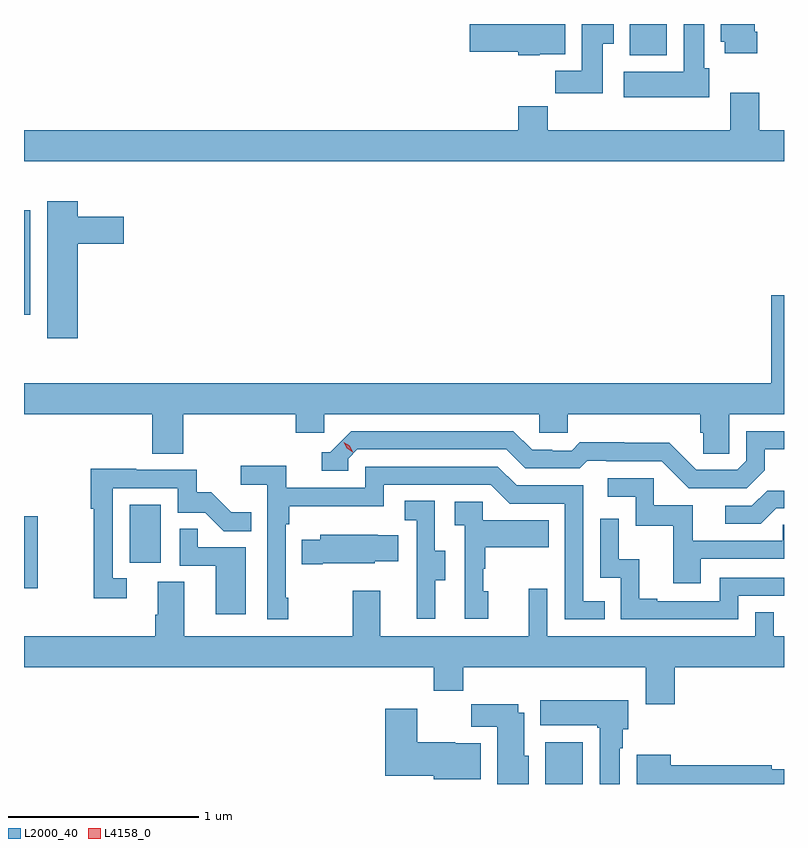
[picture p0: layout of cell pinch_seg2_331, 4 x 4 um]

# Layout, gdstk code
import gdstk
lib = gdstk.Library(unit=1e-6, precision=1e-09)
def R(c, l, rs):  # rectangles x0, y0, x1, y1
    for r in rs: c.add(gdstk.rectangle(r[:2], r[2:], *l))
def P(c, l, *ps):  # polygons
    for p in ps: c.add(gdstk.Polygon(p, *l))
L2000_40 = (2000, 40)
L4158_0 = (4158, 0)

pinch_seg2_331 = lib.new_cell('pinch_seg2_331')
R(pinch_seg2_331, L2000_40, [(1002.227,640.362,1002.424,640.582), (999.483,641.391,999.556,641.772), (1000.04,641.526,1000.204,641.833), (999.483,642.831,999.516,643.382), (1002.671,644.198,1002.867,644.362)])
P(pinch_seg2_331, L2000_40, [(1003.09,644.13),(1003.063,644.13),(1003.063,644.362),(1002.956,644.362),(1002.956,644.11),(1002.639,644.11),(1002.639,643.976),(1003.09,643.976)],
  [(1002.529,644.257),(1002.586,644.257),(1002.586,644.362),(1002.419,644.362),(1002.419,644.116),(1002.28,644.116),(1002.28,643.998),(1002.529,643.998)],
  [(1002.198,644.204),(1002.331,644.204),(1002.331,644.362),(1001.828,644.362),(1001.828,644.216),(1002.084,644.216),(1002.084,644.198),(1002.198,644.198)],
  [(1003.343,644.32),(1003.33,644.32),(1003.33,644.362),(1003.151,644.362),(1003.151,644.268),(1003.172,644.268),(1003.172,644.208),(1003.343,644.208)],
  [(1003.483,643.804),(1003.352,643.804),(1003.352,643.999),(1003.199,643.999),(1003.199,643.804),(1002.239,643.804),(1002.239,643.928),(1002.083,643.928),(1002.083,643.804),(999.483,643.804),(999.483,643.64),(1003.483,643.64)],
  [(999.766,643.205),(1000.009,643.205),(1000.009,643.347),(999.766,643.347),(999.766,643.429),(999.605,643.429),(999.605,642.708),(999.766,642.708)],
  [(1000.322,642.308),(1000.913,642.308),(1000.913,642.21),(1001.064,642.21),(1001.064,642.308),(1002.195,642.308),(1002.195,642.21),(1002.345,642.21),(1002.345,642.308),(1003.043,642.308),(1003.043,642.21),(1003.057,642.21),(1003.057,642.1),(1003.194,642.1),(1003.194,642.308),(1003.483,642.308),(1003.483,642.934),(1003.415,642.934),(1003.415,642.472),(999.483,642.472),(999.483,642.308),(1000.157,642.308),(1000.157,642.1),(1000.322,642.1)],
  [(1003.381,642.013),(1003.381,642.123),(1003.483,642.123),(1003.483,642.219),(1003.284,642.219),(1003.284,642.063),(1003.236,642.015),(1003.02,642.015),(1002.878,642.157),(1002.642,642.157),(1002.642,642.16),(1002.409,642.16),(1002.367,642.117),(1002.264,642.117),(1002.264,642.12),(1002.157,642.12),(1002.058,642.219),(1001.205,642.219),(1001.094,642.108),(1001.051,642.108),(1001.051,642.012),(1001.19,642.012),(1001.19,642.075),(1001.238,642.123),(1002.021,642.123),(1002.12,642.024),(1002.409,642.024),(1002.448,642.063),(1002.547,642.063),(1002.547,642.06),(1002.84,642.06),(1002.981,641.919),(1003.287,641.919)],
  [(1000.873,641.341),(1000.86,641.341),(1000.86,641.729),(1000.88,641.729),(1000.88,641.825),(1001.376,641.825),(1001.376,641.937),(1001.94,641.937),(1002.039,641.838),(1002.33,641.838),(1002.33,641.229),(1002.539,641.229),(1002.539,641.325),(1002.426,641.325),(1002.426,641.934),(1002.076,641.934),(1001.977,642.033),(1001.28,642.033),(1001.28,641.922),(1000.862,641.922),(1000.862,642.038),(1000.623,642.038),(1000.623,641.936),(1000.764,641.936),(1000.764,641.229),(1000.873,641.229)],
  [(1000.024,641.445),(999.951,641.445),(999.951,641.919),(1000.293,641.919),(1000.293,641.79),(1000.437,641.79),(1000.535,641.692),(1000.679,641.692),(1000.679,641.791),(1000.575,641.791),(1000.468,641.898),(1000.392,641.898),(1000.392,642.015),(1000.073,642.015),(1000.073,642.02),(999.835,642.02),(999.835,641.812),(999.85,641.812),(999.85,641.34),(1000.024,641.34)],
  [(1003.045,641.547),(1003.483,641.547),(1003.483,641.727),(1003.477,641.727),(1003.477,641.643),(1003.003,641.643),(1003.003,641.829),(1002.798,641.829),(1002.798,641.97),(1002.555,641.97),(1002.555,641.874),(1002.702,641.874),(1002.702,641.721),(1002.901,641.721),(1002.901,641.418),(1003.045,641.418)],
  [(1003.441,641.814),(1003.483,641.814),(1003.483,641.906),(1003.394,641.906),(1003.314,641.826),(1003.173,641.826),(1003.173,641.733),(1003.36,641.733)],
  [(1001.647,641.434),(1001.701,641.434),(1001.701,641.589),(1001.646,641.589),(1001.646,641.852),(1001.487,641.852),(1001.487,641.749),(1001.55,641.749),(1001.55,641.445),(1001.549,641.445),(1001.549,641.232),(1001.647,641.232)],
  [(1001.926,641.376),(1001.901,641.376),(1001.901,641.495),(1001.911,641.495),(1001.911,641.609),(1002.245,641.609),(1002.245,641.749),(1001.898,641.749),(1001.898,641.847),(1001.751,641.847),(1001.751,641.723),(1001.802,641.723),(1001.802,641.232),(1001.926,641.232)],
  [(1003.242,641.352),(1003.483,641.352),(1003.483,641.448),(1003.146,641.448),(1003.146,641.325),(1002.817,641.325),(1002.817,641.338),(1002.722,641.338),(1002.722,641.546),(1002.612,641.546),(1002.612,641.758),(1002.516,641.758),(1002.516,641.448),(1002.624,641.448),(1002.624,641.229),(1003.242,641.229)],
  [(1000.651,641.607),(1000.397,641.607),(1000.397,641.705),(1000.302,641.705),(1000.302,641.511),(1000.493,641.511),(1000.493,641.256),(1000.651,641.256)],
  [(1001.056,641.525),(1001.328,641.525),(1001.328,641.534),(1001.453,641.534),(1001.453,641.671),(1001.345,641.671),(1001.345,641.674),(1001.043,641.674),(1001.043,641.647),(1000.945,641.647),(1000.945,641.518),(1001.056,641.518)],
  [(1002.908,640.976),(1003.483,640.976),(1003.483,641.14),(1003.428,641.14),(1003.428,641.267),(1003.332,641.267),(1003.332,641.14),(1002.237,641.14),(1002.237,641.389),(1002.14,641.389),(1002.14,641.14),(1001.359,641.14),(1001.359,641.38),(1001.212,641.38),(1001.212,641.14),(1000.327,641.14),(1000.327,641.426),(1000.187,641.426),(1000.187,641.252),(1000.175,641.252),(1000.175,641.14),(999.483,641.14),(999.483,640.976),(1001.639,640.976),(1001.639,640.852),(1001.795,640.852),(1001.795,640.976),(1002.755,640.976),(1002.755,640.782),(1002.908,640.782)],
  [(1002.619,640.55),(1002.634,640.55),(1002.634,640.65),(1002.664,640.65),(1002.664,640.804),(1002.2,640.804),(1002.2,640.67),(1002.499,640.67),(1002.499,640.657),(1002.512,640.657),(1002.512,640.362),(1002.619,640.362)],
  [(1002.139,640.512),(1002.115,640.512),(1002.115,640.738),(1002.085,640.738),(1002.085,640.783),(1001.836,640.783),(1001.836,640.664),(1001.975,640.664),(1001.975,640.362),(1002.139,640.362)],
  [(1001.887,640.576),(1001.754,640.576),(1001.754,640.582),(1001.554,640.582),(1001.554,640.759),(1001.384,640.759),(1001.384,640.406),(1001.64,640.406),(1001.64,640.388),(1001.887,640.388)],
  [(1003.483,640.44),(1003.418,640.44),(1003.418,640.46),(1002.886,640.46),(1002.886,640.516),(1002.707,640.516),(1002.707,640.362),(1003.483,640.362)])
P(pinch_seg2_331, L4158_0, [(1001.213,642.109),(1001.182,642.128),(1001.166,642.16),(1001.166,642.16),(1001.166,642.16),(1001.197,642.141),(1001.214,642.109),(1001.214,642.109)])

lib.write_gds('pinch_seg2_331.gds')
